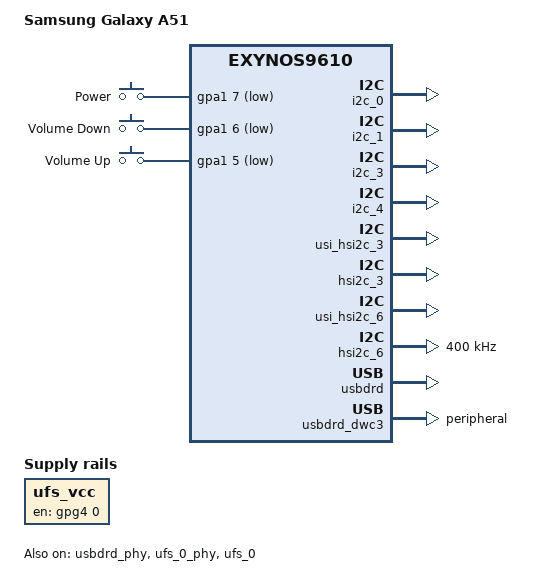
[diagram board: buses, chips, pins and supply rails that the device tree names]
// SPDX-License-Identifier: GPL-2.0
/*
 * Samsung Galaxy A51 (SM-A515F) device tree source
 *
 * Early bring-up: the display is the framebuffer S-BOOT leaves running
 * (uniLoader enables the DECON trigger), logs go to ramoops in the slot the
 * downstream kernel uses for pstore.
 */

/dts-v1/;
#include <dt-bindings/gpio/gpio.h>
#include <dt-bindings/input/linux-event-codes.h>
#include "exynos9610.dtsi"

/ {
	model = "Samsung Galaxy A51";
	compatible = "samsung,a51", "samsung,exynos9610";
	chassis-type = "handset";

	aliases {
		i2c0 = &i2c_0;
		i2c1 = &i2c_1;
		i2c3 = &i2c_3;
		i2c4 = &i2c_4;
		i2c13 = &hsi2c_3;
		i2c16 = &hsi2c_6;
	};

	gpio-keys {
		compatible = "gpio-keys";
		pinctrl-names = "default";
		pinctrl-0 = <&key_voldown>, <&key_volup>, <&key_power>;

		key-power {
			label = "Power";
			linux,code = <KEY_POWER>;
			gpios = <&gpa1 7 GPIO_ACTIVE_LOW>;
			wakeup-source;
		};

		key-volume-down {
			label = "Volume Down";
			linux,code = <KEY_VOLUMEDOWN>;
			gpios = <&gpa1 6 GPIO_ACTIVE_LOW>;
		};

		key-volume-up {
			label = "Volume Up";
			linux,code = <KEY_VOLUMEUP>;
			gpios = <&gpa1 5 GPIO_ACTIVE_LOW>;
		};
	};

	chosen {
		#address-cells = <2>;
		#size-cells = <1>;
		ranges;

		/*
		 * tmr_atboot: keep the watchdog uniLoader armed running (the driver
		 * stops it otherwise). open_timeout: the watchdog core only feeds it
		 * for 90 s, then userspace (init) has to, so a boot that hangs before
		 * init resets the phone back into Android.
		 */
		bootargs = "console=tty0 ignore_loglevel clk_ignore_unused s3c2410_wdt.tmr_atboot=1 watchdog.open_timeout=90";

		framebuffer0: framebuffer@ca000000 {
			compatible = "simple-framebuffer";
			reg = <0x0 0xca000000 (1080 * 2400 * 4)>;
			width = <1080>;
			height = <2400>;
			stride = <(1080 * 4)>;
			format = "a8r8g8b8";
		};
	};

	/* System RAM as S-BOOT's FDT describes it */
	memory@80000000 {
		device_type = "memory";
		reg = <0x0 0x80000000 0x3ab00000>,
		      <0x0 0xc0000000 0x20000000>,
		      <0x0 0xe1900000 0x1e700000>,
		      <0x8 0x80000000 0x80000000>,
		      <0x9 0x00000000 0x80000000>,
		      <0x9 0x80000000 0x80000000>;
	};

	/* Regions as S-BOOT's own FDT reserves them (/sys/firmware/fdt on stock) */
	reserved-memory {
		#address-cells = <2>;
		#size-cells = <1>;
		ranges;

		sec-debug-magic@80000000 {
			reg = <0x0 0x80000000 0x1000>;
			no-map;
		};

		kaslr@80001000 {
			reg = <0x0 0x80001000 0x1000>;
			no-map;
		};

		/*
		 * Samsung EL2 hypervisor (uH): S-BOOT reserves its code and early
		 * memory; Linux overwriting either resets the phone at random points.
		 */
		el2-code@87000000 {
			reg = <0x0 0x87000000 0x200000>;
			no-map;
		};

		el2-earlymem@9fd600000 {
			reg = <0x9 0xfd600000 0x2a00000>;
			no-map;
		};

		/* EL3 log buffers (SECLOG_LOG_BUF_BASE, 8 CPUs x 64 KiB) */
		seclog@c0000000 {
			reg = <0x0 0xc0000000 0x80000>;
			no-map;
		};

		framebuffer@ca000000 {
			reg = <0x0 0xca000000 0xa00000>;
			no-map;
		};

		camera-contig@db900000 {
			reg = <0x0 0xdb900000 0x700000>;
			no-map;
		};

		secure-camera@e1900000 {
			reg = <0x0 0xe1900000 0x2000000>;
			no-map;
		};

		abox@e9400000 {
			reg = <0x0 0xe9400000 0x2800000>;
			no-map;
		};

		modem@ed000000 {
			reg = <0x0 0xed000000 0x8a00000>;
			no-map;
		};

		cp-ram-logging@f5a00000 {
			reg = <0x0 0xf5a00000 0x1e00000>;
			no-map;
		};

		/* debug-snapshot: header, kernel/platform/sfr/cachedump/bcm logs */
		debug-snapshot@f9000000 {
			reg = <0x0 0xf9000000 0xd10000>;
			no-map;
		};

		/*
		 * debug-snapshot pstore slot (DSS_LOG_PSTORE_ADDR), with the geometry
		 * the downstream kernel runs it with (ramoops module parameters on
		 * stock: 512K each for dmesg, console, ftrace, pmsg, no ECC), so a
		 * mainline boot's console shows up in Android's /sys/fs/pstore. The
		 * console zone is at 0xf9d90000 in both kernels.
		 */
		ramoops@f9d10000 {
			compatible = "ramoops";
			reg = <0x0 0xf9d10000 0x200000>;
			record-size = <0x80000>;
			console-size = <0x80000>;
			ftrace-size = <0x80000>;
			pmsg-size = <0x80000>;
			no-map;
		};

		/* debug-snapshot kevents */
		debug-snapshot@f9f10000 {
			reg = <0x0 0xf9f10000 0x800000>;
			no-map;
		};

		gnss@fb000000 {
			reg = <0x0 0xfb000000 0x800000>;
			no-map;
		};

		chub@fd000000 {
			reg = <0x0 0xfd000000 0x80000>;
			no-map;
		};
	};

	/* UFS VCC switch, left on by S-BOOT (downstream: fixedregulator@0) */
	ufs_vcc: regulator-ufs-vcc {
		compatible = "regulator-fixed";
		regulator-name = "ufs-vcc";
		gpio = <&gpg4 0 GPIO_ACTIVE_HIGH>;
		enable-active-high;
		regulator-boot-on;
		regulator-always-on;
	};
};

&acpm_ipc {
	pmic-regulators {
		compatible = "samsung,s2mpu09-acpm-regulator";
		samsung,acpm-channel = <2>;

		/*
		 * USB PHY supplies, at the voltages the stock kernel runs them.
		 * Always on for now: the mainline PHY/DWC3 drivers do not take
		 * these supplies.
		 */
		regulators {
			vdd_ldo12: LDO12 {
				regulator-name = "vdd_ldo12";
				regulator-min-microvolt = <850000>;
				regulator-max-microvolt = <850000>;
				regulator-always-on;
			};

			vdd_ldo13: LDO13 {
				regulator-name = "vdd_ldo13";
				regulator-min-microvolt = <1800000>;
				regulator-max-microvolt = <1800000>;
				regulator-always-on;
			};

			vdd_ldo14: LDO14 {
				regulator-name = "vdd_ldo14";
				regulator-min-microvolt = <3000000>;
				regulator-max-microvolt = <3000000>;
				regulator-always-on;
			};
		};
	};
};

/* SM5713 USB-PD @0x33 */
&i2c_0 {
	samsung,i2c-max-bus-freq = <400000>;
	status = "okay";
};

/* SM5713 IF-PMIC: charger/fuel gauge @0x49, MUIC @0x25 */
&i2c_1 {
	samsung,i2c-max-bus-freq = <400000>;
	status = "okay";
};

/* S2MPB03 camera PMIC @0x56 */
&i2c_3 {
	/* 100 kHz default, as downstream */
	status = "okay";
};

/* Melfas MSS100 touchscreen @0x48 */
&i2c_4 {
	samsung,i2c-max-bus-freq = <400000>;
	status = "okay";
};


/* RT5510 speaker amp @0x34 */
&usi_hsi2c_3 {
	status = "okay";
};

&hsi2c_3 {
	status = "okay";
};

/* PN547 NFC @0x2b */
&usi_hsi2c_6 {
	status = "okay";
};

&hsi2c_6 {
	clock-frequency = <400000>;
	status = "okay";
};

&pinctrl_alive {
	key_voldown: key-voldown-pins {
		samsung,pins = "gpa1-6";
		samsung,pin-function = <EXYNOS_PIN_FUNC_EINT>;
		samsung,pin-pud = <EXYNOS_PIN_PULL_NONE>;
	};

	key_volup: key-volup-pins {
		samsung,pins = "gpa1-5";
		samsung,pin-function = <EXYNOS_PIN_FUNC_EINT>;
		samsung,pin-pud = <EXYNOS_PIN_PULL_NONE>;
	};

	key_power: key-power-pins {
		samsung,pins = "gpa1-7";
		samsung,pin-function = <EXYNOS_PIN_FUNC_EINT>;
		samsung,pin-pud = <EXYNOS_PIN_PULL_NONE>;
	};
};

&usbdrd {
	status = "okay";
};

&usbdrd_dwc3 {
	dr_mode = "peripheral";
	maximum-speed = "high-speed";
};

&usbdrd_phy {
	status = "okay";
};

&ufs_0_phy {
	status = "okay";
};

&ufs_0 {
	/* one lane each way (downstream ufs,pmd-attr-lane) */
	lanes-per-direction = <1>;
	vcc-supply = <&ufs_vcc>;
	status = "okay";
};
